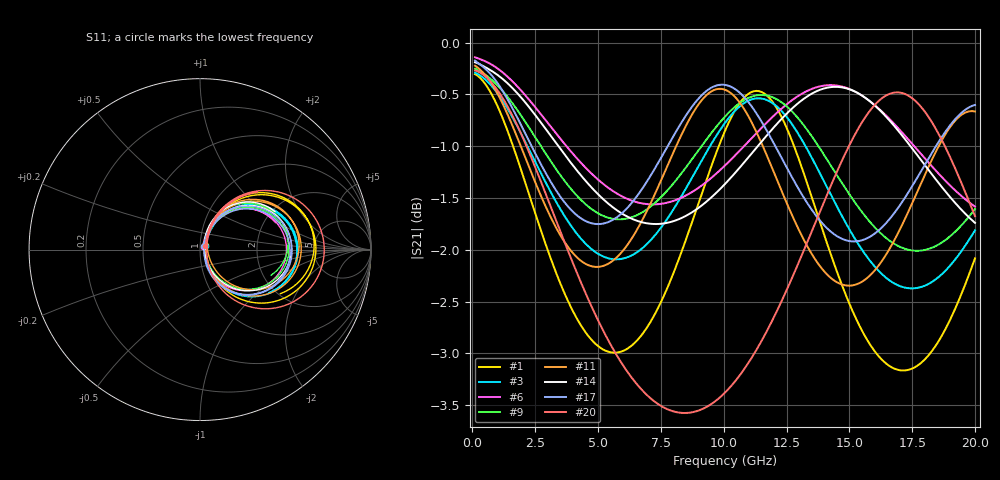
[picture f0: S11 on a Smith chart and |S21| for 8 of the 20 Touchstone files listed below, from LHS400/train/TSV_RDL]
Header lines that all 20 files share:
! Touchstone file exported from HFSS 2026.1.0
!  Design:  TSV_RDL
! Variables:
! Terminal data exported
# GHz S MA R 50.000000
Fixed: h_ox = 20um, h_rdl = 5um, h_via = 3um, m_sub = 200um, s_tmrdl = 10um, w_sub = 500um
Also varied, not listed: x_tsv_center2, x_tsv_center3, x_tsv_center4, x_tsv_center5, x_tsv_center6
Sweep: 100 MHz to 20 GHz
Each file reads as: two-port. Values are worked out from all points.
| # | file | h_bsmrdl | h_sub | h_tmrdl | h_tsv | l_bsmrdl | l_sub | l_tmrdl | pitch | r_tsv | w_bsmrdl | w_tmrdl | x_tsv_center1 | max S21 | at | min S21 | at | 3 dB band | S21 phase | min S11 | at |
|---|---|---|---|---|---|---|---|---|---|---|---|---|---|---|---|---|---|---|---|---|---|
| 1 | dut300.s2p | 4.8um | 75.73um | 2.74um | 75.73um | 736.3um | 5295.97um | 649.11um | 59.06um | 7.67um | 15.95um | 14.26um | 656.24um | -0.30 dB | 100 MHz | -3.2 dB | 17.1 GHz | 100 MHz-20 GHz | -150 deg at 10.1 GHz | -29.0 dB | 11.4 GHz |
| 2 | dut301.s2p | 3.87um | 88.39um | 4.82um | 88.39um | 465.38um | 4840.37um | 724.96um | 51.72um | 13.95um | 26.37um | 21.76um | 735.84um | -0.14 dB | 100 MHz | -1.5 dB | 17.5 GHz | 100 MHz-20 GHz | -147 deg at 10.1 GHz | -34.5 dB | 11.6 GHz |
| 3 | dut303.s2p | 3.27um | 53.01um | 5.79um | 53.01um | 770.26um | 5339.49um | 637.64um | 40.61um | 13.24um | 11.19um | 14.86um | 645.07um | -0.29 dB | 100 MHz | -2.4 dB | 17.5 GHz | 100 MHz-20 GHz | -153 deg at 10.1 GHz | -29.2 dB | 11.6 GHz |
| 4 | dut307.s2p | 2.04um | 50.13um | 2.11um | 50.13um | 520.05um | 4504.63um | 617.88um | 44.7um | 7.36um | 13.23um | 11.09um | 623.425um | -0.50 dB | 100 MHz | -3.2 dB | 20 GHz | 100 MHz-20 GHz | -120 deg at 10.1 GHz | -27.5 dB | 13.9 GHz |
| 5 | dut308.s2p | 3.72um | 68.71um | 3.03um | 68.71um | 782.29um | 5927.54um | 773.38um | 57.39um | 7.88um | 18.57um | 10.48um | 778.62um | -0.41 dB | 100 MHz | -3.4 dB | 15.2 GHz | 100 MHz-20 GHz | -175 deg at 10.1 GHz | -27.5 dB | 10.1 GHz |
| 6 | dut309.s2p | 4.41um | 80.09um | 5.53um | 80.09um | 574.94um | 4159.42um | 481.08um | 43.08um | 7.54um | 18.08um | 18.68um | 490.42um | -0.14 dB | 100 MHz | -1.6 dB | 20 GHz | 100 MHz-20 GHz | -120 deg at 10.1 GHz | -33.3 dB | 100 MHz |
| 7 | dut311.s2p | 5.33um | 90.87um | 5.61um | 90.87um | 172.74um | 3263.44um | 556.35um | 43.66um | 7.89um | 29.74um | 10.2um | 561.45um | -0.15 dB | 100 MHz | -1.6 dB | 8 GHz | 100 MHz-20 GHz | -103 deg at 10.1 GHz | -33.5 dB | 100 MHz |
| 8 | dut312.s2p | 3.71um | 59.16um | 4.79um | 59.16um | 981.42um | 6876.07um | 848.43um | 44.94um | 5.17um | 18.84um | 27.19um | 862.025um | -0.24 dB | 100 MHz | -1.8 dB | 14.5 GHz | 100 MHz-20 GHz | 163 deg at 10.1 GHz | -30.2 dB | 9.5 GHz |
| 9 | dut314.s2p | 4.57um | 67.51um | 3.67um | 67.51um | 349.57um | 4966.96um | 858.06um | 38.81um | 10.98um | 13.67um | 15um | 865.56um | -0.25 dB | 100 MHz | -2.0 dB | 17.7 GHz | 100 MHz-20 GHz | -146 deg at 10.1 GHz | -30.8 dB | 11.7 GHz |
| 10 | dut316.s2p | 4.84um | 90.67um | 2.86um | 90.67um | 510.19um | 4768.48um | 674.64um | 50.64um | 13.9um | 26.12um | 20.33um | 684.805um | -0.19 dB | 100 MHz | -1.6 dB | 17.2 GHz | 100 MHz-20 GHz | -148 deg at 10.1 GHz | -34.0 dB | 11.4 GHz |
| 11 | dut318.s2p | 4.62um | 59.47um | 3.92um | 59.47um | 996.27um | 6249.6um | 684.98um | 53.95um | 9.54um | 22.83um | 17.46um | 693.71um | -0.22 dB | 100 MHz | -2.3 dB | 15 GHz | 100 MHz-20 GHz | -179 deg at 10.1 GHz | -30.2 dB | 10 GHz |
| 12 | dut319.s2p | 2.64um | 92.33um | 2.84um | 92.33um | 961.25um | 5972.64um | 641.57um | 58.27um | 14.45um | 25.16um | 15.71um | 649.425um | -0.32 dB | 100 MHz | -2.3 dB | 14.1 GHz | 100 MHz-20 GHz | 170 deg at 10.1 GHz | -30.7 dB | 9.3 GHz |
| 13 | dut320.s2p | 5.41um | 67.3um | 4.7um | 67.3um | 614.65um | 3053.91um | 168.38um | 58.58um | 10.85um | 19.18um | 26.3um | 181.53um | -0.08 dB | 100 MHz | -1.9 dB | 10.2 GHz | 100 MHz-20 GHz | -89 deg at 10.1 GHz | -36.4 dB | 100 MHz |
| 14 | dut322.s2p | 2.68um | 71.01um | 4um | 71.01um | 308.08um | 4019.64um | 639.8um | 44.79um | 4.12um | 28.38um | 17.02um | 648.31um | -0.19 dB | 100 MHz | -1.8 dB | 7.3 GHz | 100 MHz-20 GHz | -116 deg at 10.1 GHz | -31.7 dB | 14.7 GHz |
| 15 | dut323.s2p | 2.13um | 76.68um | 4.74um | 76.68um | 818.66um | 5416.43um | 608.71um | 46.92um | 9.34um | 29.55um | 12.32um | 614.87um | -0.26 dB | 100 MHz | -1.9 dB | 15.7 GHz | 100 MHz-20 GHz | -164 deg at 10.1 GHz | -31.9 dB | 10.4 GHz |
| 16 | dut325.s2p | 4.34um | 55.63um | 2.11um | 55.63um | 226.59um | 4569.05um | 841.93um | 47.64um | 2.05um | 20.87um | 19.65um | 851.755um | -0.36 dB | 100 MHz | -2.5 dB | 20 GHz | 100 MHz-20 GHz | -125 deg at 10.1 GHz | -30.1 dB | 13.7 GHz |
| 17 | dut331.s2p | 3.75um | 52.01um | 4.9um | 52.01um | 848.03um | 6526.07um | 855.22um | 57.3um | 11.58um | 24.27um | 29.43um | 869.935um | -0.17 dB | 100 MHz | -1.9 dB | 15.2 GHz | 100 MHz-20 GHz | 178 deg at 10.1 GHz | -31.8 dB | 10.1 GHz |
| 18 | dut333.s2p | 2.34um | 69.7um | 4.4um | 69.7um | 258.03um | 5140.06um | 961.14um | 59.6um | 2.29um | 21.49um | 18.98um | 970.63um | -0.28 dB | 100 MHz | -2.9 dB | 18.3 GHz | 100 MHz-20 GHz | -142 deg at 10.1 GHz | -29.3 dB | 12.2 GHz |
| 19 | dut334.s2p | 2.07um | 73.66um | 2.41um | 73.66um | 425.97um | 5096.23um | 830.22um | 31.58um | 9.18um | 18.32um | 14.16um | 837.3um | -0.40 dB | 100 MHz | -1.7 dB | 16.6 GHz | 100 MHz-20 GHz | -155 deg at 10.1 GHz | -31.4 dB | 11 GHz |
| 20 | dut338.s2p | 3.45um | 68.14um | 3.68um | 68.14um | 915.11um | 3659.25um | 112.01um | 57.06um | 4.35um | 11.91um | 10.05um | 117.035um | -0.27 dB | 100 MHz | -3.6 dB | 8.4 GHz | 10.5 GHz-20 GHz | -101 deg at 10.1 GHz | -28.8 dB | 100 MHz |
